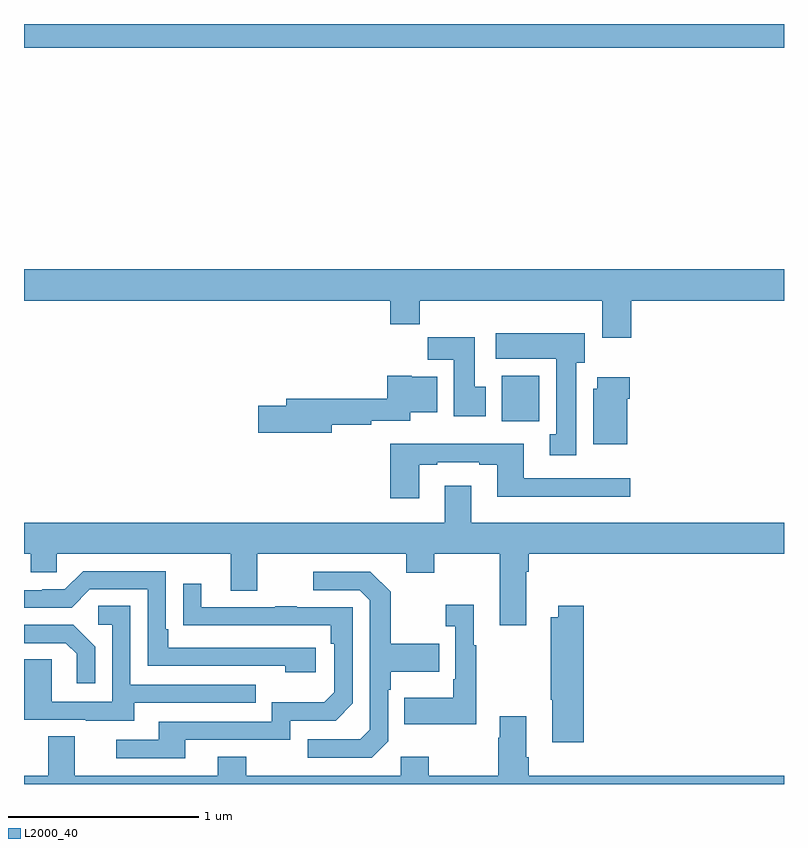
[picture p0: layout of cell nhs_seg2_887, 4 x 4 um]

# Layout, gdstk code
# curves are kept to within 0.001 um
import gdstk
lib = gdstk.Library(unit=1e-6, precision=1e-09)
def R(c, l, rs):  # rectangles x0, y0, x1, y1
    for r in rs: c.add(gdstk.rectangle(r[:2], r[2:], *l))
def P(c, l, *ps):  # polygons
    for p in ps: c.add(gdstk.Polygon(p, *l))
L2000_40 = (2000, 40)

nhs_seg2_887 = lib.new_cell('nhs_seg2_887')
R(nhs_seg2_887, L2000_40, [(159.515,605.708,159.712,605.95), (157,607.676,161,607.8)])
P(nhs_seg2_887, L2000_40, [(160.196,606.344),(161,606.344),(161,606.508),(157,606.508),(157,606.344),(158.927,606.344),(158.927,606.22),(159.083,606.22),(159.083,606.344),(160.043,606.344),(160.043,606.15),(160.196,606.15)],
  [(159.907,606.018),(159.952,606.018),(159.952,606.172),(159.483,606.172),(159.483,606.038),(159.8,606.038),(159.8,605.642),(159.767,605.642),(159.767,605.529),(159.907,605.529)],
  [(159.43,605.892),(159.373,605.892),(159.373,606.151),(159.124,606.151),(159.124,606.032),(159.263,606.032),(159.263,605.736),(159.43,605.736)],
  [(158.62,605.692),(158.828,605.692),(158.828,605.712),(159.034,605.712),(159.034,605.756),(159.175,605.756),(159.175,605.944),(159.042,605.944),(159.042,605.95),(158.912,605.95),(158.912,605.828),(158.381,605.828),(158.381,605.792),(158.232,605.792),(158.232,605.65),(158.62,605.65)],
  [(160.174,605.828),(160.187,605.828),(160.187,605.941),(160.016,605.941),(160.016,605.88),(159.995,605.88),(159.995,605.588),(160.174,605.588)],
  [(159.079,605.481),(159.175,605.481),(159.175,605.493),(159.395,605.493),(159.395,605.481),(159.491,605.481),(159.491,605.312),(160.192,605.312),(160.192,605.409),(159.631,605.409),(159.631,605.59),(158.927,605.59),(158.927,605.304),(159.079,605.304)],
  [(159.643,604.916),(159.656,604.916),(159.656,605.012),(161,605.012),(161,605.176),(159.355,605.176),(159.355,605.371),(159.215,605.371),(159.215,605.176),(157,605.176),(157,605.012),(157.035,605.012),(157.035,604.914),(157.173,604.914),(157.173,605.012),(158.087,605.012),(158.087,604.818),(158.227,604.818),(158.227,605.012),(159.011,605.012),(159.011,604.913),(159.159,604.913),(159.159,605.012),(159.503,605.012),(159.503,604.635),(159.643,604.635)],
  [(158.536,604.518),(157.759,604.518),(157.759,604.615),(157.746,604.615),(157.746,604.92),(157.311,604.92),(157.215,604.824),(157.097,604.824),(157.097,604.821),(157,604.821),(157,604.728),(157.251,604.728),(157.347,604.824),(157.65,604.824),(157.65,604.422),(158.375,604.422),(158.375,604.388),(158.536,604.388)],
  [(158.916,604.026),(158.916,604.295),(158.929,604.295),(158.929,604.391),(159.185,604.391),(159.185,604.539),(158.929,604.539),(158.929,604.811),(158.823,604.917),(158.523,604.917),(158.523,604.821),(158.766,604.821),(158.82,604.767),(158.82,604.086),(158.769,604.035),(158.493,604.035),(158.493,603.939),(158.829,603.939)],
  [(157.849,604.032),(158.4,604.032),(158.4,604.134),(158.64,604.134),(158.73,604.224),(158.73,604.731),(158.435,604.731),(158.435,604.736),(158.323,604.736),(158.323,604.731),(157.933,604.731),(157.933,604.855),(157.837,604.855),(157.837,604.636),(158.614,604.635),(158.614,604.538),(158.634,604.538),(158.634,604.284),(158.581,604.231),(158.304,604.231),(158.304,604.128),(157.709,604.128),(157.709,604.032),(157.485,604.032),(157.485,603.936),(157.849,603.936)],
  [(159.379,604.531),(159.367,604.531),(159.367,604.744),(159.219,604.744),(159.219,604.631),(159.27,604.631),(159.27,604.351),(159.258,604.351),(159.258,604.255),(159.001,604.255),(159.001,604.115),(159.379,604.115)],
  [(157.579,604.227),(158.219,604.227),(158.219,604.323),(157.56,604.323),(157.56,604.739),(157.392,604.739),(157.392,604.638),(157.464,604.638),(157.464,604.233),(157.146,604.233),(157.146,604.457),(157.001,604.457),(157.001,604.137),(157.325,604.137),(157.325,604.133),(157.579,604.133)],
  [(159.947,604.738),(159.812,604.738),(159.812,604.678),(159.772,604.678),(159.772,604.243),(159.779,604.243),(159.779,604.02),(159.947,604.02)],
  [(157.374,604.522),(157.258,604.638),(157,604.638),(157,604.542),(157.22,604.542),(157.277,604.485),(157.277,604.329),(157.374,604.329)],
  [(161,603.844),(159.656,603.844),(159.656,603.94),(159.643,603.94),(159.643,604.156),(159.503,604.156),(159.503,604.043),(159.496,604.043),(159.496,603.844),(159.129,603.844),(159.129,603.943),(158.982,603.943),(158.982,603.844),(158.169,603.844),(158.169,603.943),(158.021,603.943),(158.021,603.844),(157.267,603.844),(157.267,604.052),(157.127,604.052),(157.127,603.844),(157,603.844),(157,603.8),(161,603.8)])

lib.write_gds('nhs_seg2_887.gds')
